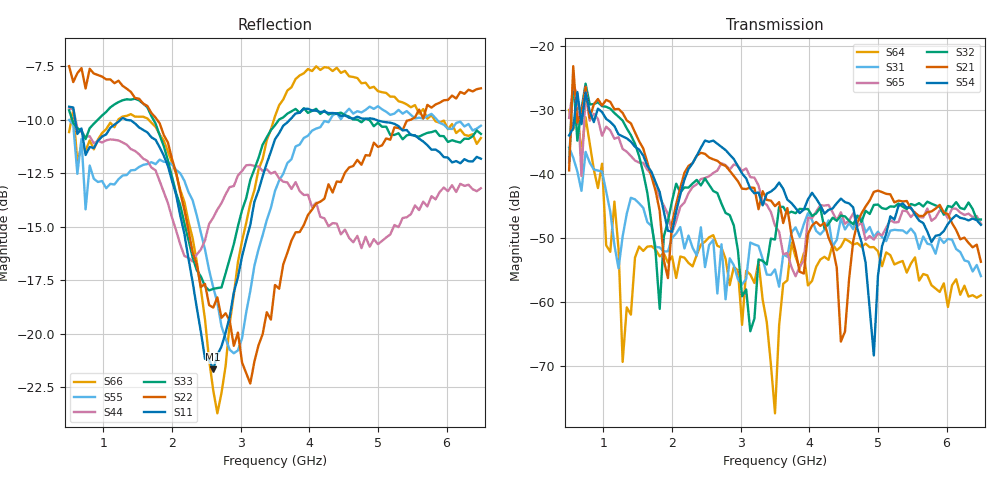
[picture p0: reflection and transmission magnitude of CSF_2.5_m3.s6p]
!Keysight Technologies,M9804A,MY58100912,A.14.10.03
!Date: Thursday, April 27, 2023 10:28:33
!Correction: S11(C  6-Port  )
!S12(C  6-Port  )
!S13(C  6-Port  )
!S14(C  6-Port  )
!S15(C  6-Port  )
!S16(C  6-Port  )
!S21(C  6-Port  )
!S22(C  6-Port  )
!S23(C  6-Port  )
!S24(C  6-Port  )
!S25(C  6-Port  )
!S26(C  6-Port  )
!S31(C  6-Port  )
!S32(C  6-Port  )
!S33(C  6-Port  )
!S34(C  6-Port  )
!S35(C  6-Port  )
!S36(C  6-Port  )
!S41(C  6-Port  )
!S42(C  6-Port  )
!S43(C  6-Port  )
!S44(C  6-Port  )
!S45(C  6-Port  )
!S46(C  6-Port  )
!S51(C  6-Port  )
!S52(C  6-Port  )
!S53(C  6-Port  )
!S54(C  6-Port  )
!S55(C  6-Port  )
!S56(C  6-Port  )
!S61(C  6-Port  )
!S62(C  6-Port  )
!S63(C  6-Port  )
!S64(C  6-Port  )
!S65(C  6-Port  )
!S66(C  6-Port  )
!S6P File: Measurement: :
# Hz S  RI  R 50
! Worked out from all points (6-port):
!   101 points, 500 MHz to 6.5 GHz, reference 50 ohm
!   strongest paths, dB at 500 MHz, 2 GHz, 3.5 GHz, 5 GHz, 6.5 GHz:
!     S54: -33.9, -49.0, -42.2, -55.9, -47.9
!     S21: -39.4, -47.6, -45.0, -42.6, -53.7
!     S32: -38.1, -44.2, -50.2, -44.7, -47.1
!     S65: -31.2, -49.1, -48.0, -49.3, -47.7
!     S31: -35.8, -49.9, -54.9, -49.0, -55.9
!     S64: -29.9, -52.8, -77.3, -52.0, -58.9
!   lowest |S11| = -21.7 dB at 2.6 GHz (marker M1), VSWR 1.18, Z = 42.6 + j1.99 ohm
!   |S11| at or under -10 dB: 588.1 MHz to 1.249 GHz (660.7 MHz wide, 71.9 % of centre); 1.338 GHz to 3.715 GHz (2.377 GHz wide, 94.1 % of centre); 4.975 GHz to end of sweep
